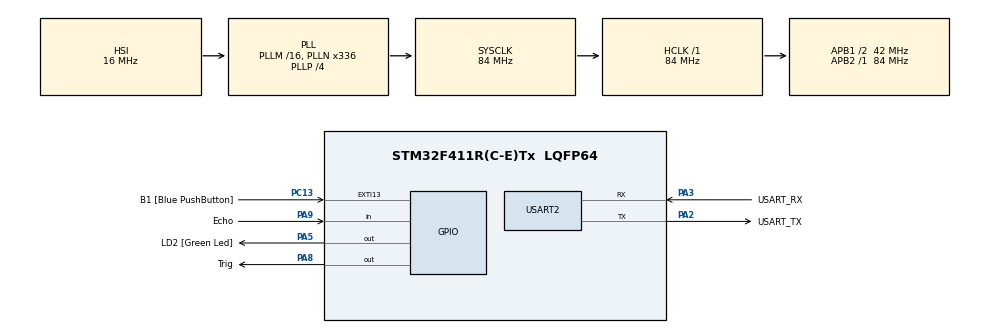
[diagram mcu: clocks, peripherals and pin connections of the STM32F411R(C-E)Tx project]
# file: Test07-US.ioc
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Mcu.Family=STM32F4
Mcu.Name=STM32F411R(C-E)Tx
Mcu.Package=LQFP64
NVIC.EXTI15_10_IRQn=true\:0\:0\:false\:false\:true\:true\:true\:true
NVIC.PriorityGroup=NVIC_PRIORITYGROUP_0
PA13.GPIO_Label=TMS
PA13.Mode=Serial_Wire
PA13.Signal=SYS_JTMS-SWDIO
PA14.GPIO_Label=TCK
PA14.Mode=Serial_Wire
PA14.Signal=SYS_JTCK-SWCLK
PA2.GPIO_Label=USART_TX
PA2.Mode=Asynchronous
PA2.Signal=USART2_TX
PA3.GPIO_Label=USART_RX
PA3.Mode=Asynchronous
PA3.Signal=USART2_RX
PA5.GPIO_Label=LD2 [Green Led]
PA5.Signal=GPIO_Output
PA8.GPIO_Label=Trig
PA8.Signal=GPIO_Output
PA9.GPIO_Label=Echo
PA9.Signal=GPIO_Input
PC13-ANTI_TAMP.GPIO_Label=B1 [Blue PushButton]
PC13-ANTI_TAMP.GPIO_ModeDefaultEXTI=GPIO_MODE_IT_FALLING
PC13-ANTI_TAMP.Signal=GPXTI13
PC14-OSC32_IN.Mode=LSE-External-Oscillator
PC14-OSC32_IN.Signal=RCC_OSC32_IN
PC15-OSC32_OUT.Mode=LSE-External-Oscillator
PC15-OSC32_OUT.Signal=RCC_OSC32_OUT
PH0\ -\ OSC_IN.Mode=HSE-External-Clock-Source
PH0\ -\ OSC_IN.Signal=RCC_OSC_IN
PH1\ -\ OSC_OUT.Mode=HSE-External-Clock-Source
PH1\ -\ OSC_OUT.Signal=RCC_OSC_OUT
ProjectManager.HeapSize=0x200
ProjectManager.StackSize=0x400
ProjectManager.TargetToolchain=STM32CubeIDE
RCC.48MHZClocksFreq_Value=84000000
RCC.AHBFreq_Value=84000000
RCC.APB1CLKDivider=RCC_HCLK_DIV2
RCC.APB1Freq_Value=42000000
RCC.APB1TimFreq_Value=84000000
RCC.APB2Freq_Value=84000000
RCC.APB2TimFreq_Value=84000000
RCC.CortexFreq_Value=84000000
RCC.FLatency-AdvancedSettings=FLASH_LATENCY_2
RCC.HCLKFreq_Value=84000000
RCC.HSE_VALUE=8000000
RCC.HSI_VALUE=16000000
RCC.PLLN=336
RCC.PLLP=RCC_PLLP_DIV4
RCC.SYSCLKFreq_VALUE=84000000
RCC.SYSCLKSource=RCC_SYSCLKSOURCE_PLLCLK
RCC.VCOOutputFreq_Value=336000000
TIM5.Prescaler=84-1
USART2.VirtualMode=VM_ASYNC
VP_TIM5_VS_ClockSourceINT.Mode=Internal
board=NUCLEO-F411RE

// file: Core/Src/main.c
/* USER CODE BEGIN Header */
/**
  ******************************************************************************
  * @file           : main.c
  * @brief          : Main program body
  ******************************************************************************
  * @attention
  *
  * Copyright (c) 2023 STMicroelectronics.
  * All rights reserved.
  *
  * This software is licensed under terms that can be found in the LICENSE file
  * in the root directory of this software component.
  * If no LICENSE file comes with this software, it is provided AS-IS.
  *
  ******************************************************************************
  */
/* USER CODE END Header */
#include "main.h"

TIM_HandleTypeDef htim5;

UART_HandleTypeDef huart2;

void SystemClock_Config(void);
static void MX_GPIO_Init(void);
static void MX_USART2_UART_Init(void);
static void MX_TIM5_Init(void);

/* USER CODE BEGIN 0 */
#include "..\\..\\..\\Lib\\MyLib.c"

void myDelay(int us)  // us:microsecond
{
	volatile int t1 = htim5.Instance->CNT;  // save current value
	while(1)
	{
		int t2 = htim5.Instance->CNT;  // ?��?��?�� CNT �??
		if(t2 - t1 > us) break;
	}
	//while(htim5.Instance->CNT - t1 < us);
}
double Dist()
{
	HAL_GPIO_WritePin(Trig_GPIO_Port, Trig_Pin, 0); myDelay(20);
	HAL_GPIO_WritePin(Trig_GPIO_Port, Trig_Pin, 1); myDelay(10);
	HAL_GPIO_WritePin(Trig_GPIO_Port, Trig_Pin, 0); myDelay(200);

	//while(HAL_GPIO_ReadPin(Echo_GPIO_Port, Echo_Pin) == 0);  // 0 ----> 1
	while(1)  // Current state Echo LOW
	{
	  int e = HAL_GPIO_ReadPin(Echo_GPIO_Port, Echo_Pin);  // 0 ----> 1
	  if(e == 1) break;
	}
	volatile int t1 = htim5.Instance->CNT;

	//while(HAL_GPIO_ReadPin(Echo_GPIO_Port, Echo_Pin) == 1);  // 1 ----> 0
	while(1)  // Current state Echo HIGH
	{
	  int e = HAL_GPIO_ReadPin(Echo_GPIO_Port, Echo_Pin);  // 0 ----> 1
	  if(e == 0) break;
	}
	volatile int t2 = htim5.Instance->CNT;

	int t3 = t2 - t1;  // Return time
	int tt = t3 / 2;	 //  time to object
	double dist = (340.0 / 1000000.) * tt;  // Sound speed 340m/sec ==> 0.000340m/us
	//int m = (int)dist;
	//int cm = dist * 100;
	//int cm1 = cm - m * 100;
	//printf("Distance : %f ", dist);
	//if(m) printf("     %d m", m);
	//printf(" %d cm\r\n", cm1);
	return dist;
}
void HAL_GPIO_EXTI_Callback(uint16_t GPIO_Pin)
{
	if(GPIO_Pin == B1_Pin)
	{
		double arr[10],tot = 0.;
		for(int i=0;i<10;i++)
		{
			arr[i] = Dist(); tot += arr[i];
			printf("[%d] : %f\r\n", i, arr[i]);
			myDelay(100*1000);  // 100 ms
		}
		printf("Distance(AVR) : %f\r\n", tot / 10);
	}
}

/* USER CODE END 0 */

int main(void)
{

  /* MCU Configuration--------------------------------------------------------*/

  /* Reset of all peripherals, Initializes the Flash interface and the Systick. */
  HAL_Init();

  /* Configure the system clock */
  SystemClock_Config();

  /* Initialize all configured peripherals */
  MX_GPIO_Init();
  MX_USART2_UART_Init();
  MX_TIM5_Init();
  /* USER CODE BEGIN 2 */
  HAL_TIM_Base_Start(&htim5);
  printf("[Process] Timer start\r\n");
  /* USER CODE END 2 */

  /* Infinite loop */
  while (1)
  {

    /* USER CODE BEGIN 3 */
	  //printf("%f\r\n",Dist());
	  HAL_Delay(500);
  }
  /* USER CODE END 3 */
}

void SystemClock_Config(void)
{
  RCC_OscInitTypeDef RCC_OscInitStruct = {0};
  RCC_ClkInitTypeDef RCC_ClkInitStruct = {0};

  /** Configure the main internal regulator output voltage
  */
  __HAL_RCC_PWR_CLK_ENABLE();
  __HAL_PWR_VOLTAGESCALING_CONFIG(PWR_REGULATOR_VOLTAGE_SCALE1);

  /** Initializes the RCC Oscillators according to the specified parameters
  * in the RCC_OscInitTypeDef structure.
  */
  RCC_OscInitStruct.OscillatorType = RCC_OSCILLATORTYPE_HSI;
  RCC_OscInitStruct.HSIState = RCC_HSI_ON;
  RCC_OscInitStruct.HSICalibrationValue = RCC_HSICALIBRATION_DEFAULT;
  RCC_OscInitStruct.PLL.PLLState = RCC_PLL_ON;
  RCC_OscInitStruct.PLL.PLLSource = RCC_PLLSOURCE_HSI;
  RCC_OscInitStruct.PLL.PLLM = 16;
  RCC_OscInitStruct.PLL.PLLN = 336;
  RCC_OscInitStruct.PLL.PLLP = RCC_PLLP_DIV4;
  RCC_OscInitStruct.PLL.PLLQ = 4;
  if (HAL_RCC_OscConfig(&RCC_OscInitStruct) != HAL_OK)
  {
    Error_Handler();
  }

  /** Initializes the CPU, AHB and APB buses clocks
  */
  RCC_ClkInitStruct.ClockType = RCC_CLOCKTYPE_HCLK|RCC_CLOCKTYPE_SYSCLK
                              |RCC_CLOCKTYPE_PCLK1|RCC_CLOCKTYPE_PCLK2;
  RCC_ClkInitStruct.SYSCLKSource = RCC_SYSCLKSOURCE_PLLCLK;
  RCC_ClkInitStruct.AHBCLKDivider = RCC_SYSCLK_DIV1;
  RCC_ClkInitStruct.APB1CLKDivider = RCC_HCLK_DIV2;
  RCC_ClkInitStruct.APB2CLKDivider = RCC_HCLK_DIV1;

  if (HAL_RCC_ClockConfig(&RCC_ClkInitStruct, FLASH_LATENCY_2) != HAL_OK)
  {
    Error_Handler();
  }
}

static void MX_TIM5_Init(void)
{

  TIM_ClockConfigTypeDef sClockSourceConfig = {0};
  TIM_MasterConfigTypeDef sMasterConfig = {0};

  htim5.Instance = TIM5;
  htim5.Init.Prescaler = 84-1;
  htim5.Init.CounterMode = TIM_COUNTERMODE_UP;
  htim5.Init.Period = 4294967295;
  htim5.Init.ClockDivision = TIM_CLOCKDIVISION_DIV1;
  htim5.Init.AutoReloadPreload = TIM_AUTORELOAD_PRELOAD_DISABLE;
  if (HAL_TIM_Base_Init(&htim5) != HAL_OK)
  {
    Error_Handler();
  }
  sClockSourceConfig.ClockSource = TIM_CLOCKSOURCE_INTERNAL;
  if (HAL_TIM_ConfigClockSource(&htim5, &sClockSourceConfig) != HAL_OK)
  {
    Error_Handler();
  }
  sMasterConfig.MasterOutputTrigger = TIM_TRGO_RESET;
  sMasterConfig.MasterSlaveMode = TIM_MASTERSLAVEMODE_DISABLE;
  if (HAL_TIMEx_MasterConfigSynchronization(&htim5, &sMasterConfig) != HAL_OK)
  {
    Error_Handler();
  }

}

static void MX_USART2_UART_Init(void)
{

  huart2.Instance = USART2;
  huart2.Init.BaudRate = 115200;
  huart2.Init.WordLength = UART_WORDLENGTH_8B;
  huart2.Init.StopBits = UART_STOPBITS_1;
  huart2.Init.Parity = UART_PARITY_NONE;
  huart2.Init.Mode = UART_MODE_TX_RX;
  huart2.Init.HwFlowCtl = UART_HWCONTROL_NONE;
  huart2.Init.OverSampling = UART_OVERSAMPLING_16;
  if (HAL_UART_Init(&huart2) != HAL_OK)
  {
    Error_Handler();
  }

}

static void MX_GPIO_Init(void)
{
  GPIO_InitTypeDef GPIO_InitStruct = {0};

  /* GPIO Ports Clock Enable */
  __HAL_RCC_GPIOC_CLK_ENABLE();
  __HAL_RCC_GPIOH_CLK_ENABLE();
  __HAL_RCC_GPIOA_CLK_ENABLE();

  /*Configure GPIO pin Output Level */
  HAL_GPIO_WritePin(GPIOA, LD2_Pin|Trig_Pin, GPIO_PIN_RESET);

  /*Configure GPIO pin : B1_Pin */
  GPIO_InitStruct.Pin = B1_Pin;
  GPIO_InitStruct.Mode = GPIO_MODE_IT_FALLING;
  GPIO_InitStruct.Pull = GPIO_NOPULL;
  HAL_GPIO_Init(B1_GPIO_Port, &GPIO_InitStruct);

  /*Configure GPIO pins : LD2_Pin Trig_Pin */
  GPIO_InitStruct.Pin = LD2_Pin|Trig_Pin;
  GPIO_InitStruct.Mode = GPIO_MODE_OUTPUT_PP;
  GPIO_InitStruct.Pull = GPIO_NOPULL;
  GPIO_InitStruct.Speed = GPIO_SPEED_FREQ_LOW;
  HAL_GPIO_Init(GPIOA, &GPIO_InitStruct);

  /*Configure GPIO pin : Echo_Pin */
  GPIO_InitStruct.Pin = Echo_Pin;
  GPIO_InitStruct.Mode = GPIO_MODE_INPUT;
  GPIO_InitStruct.Pull = GPIO_NOPULL;
  HAL_GPIO_Init(Echo_GPIO_Port, &GPIO_InitStruct);

  /* EXTI interrupt init*/
  HAL_NVIC_SetPriority(EXTI15_10_IRQn, 0, 0);
  HAL_NVIC_EnableIRQ(EXTI15_10_IRQn);

}

void Error_Handler(void)
{
  __disable_irq();
  while (1)
  {
  }
}
